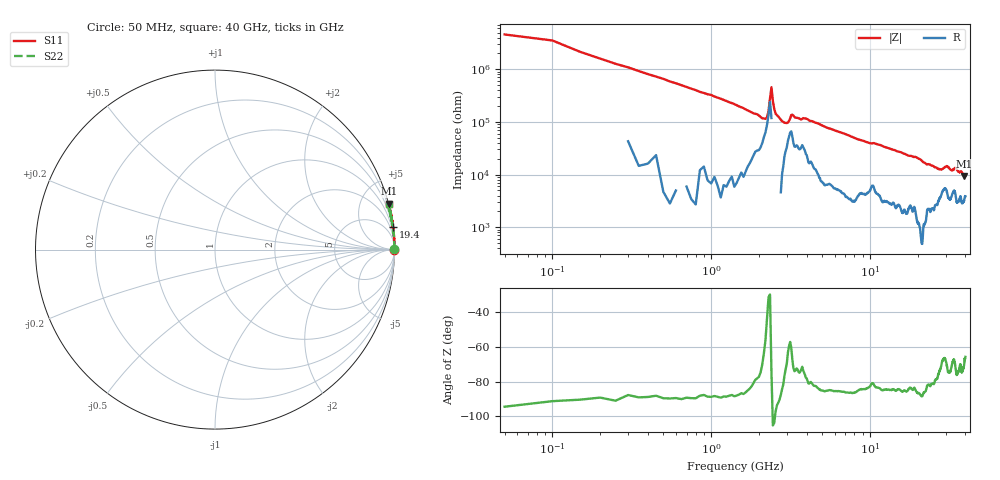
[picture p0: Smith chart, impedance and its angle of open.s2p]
!Keysight Technologies,N5247B,MY61255062,A.15.50.07
!Date: Thursday, February 13, 2025 12:40:25
!Correction: S11(C  2-Port  )
!S21(C  2-Port  )
!S12(C  2-Port  )
!S22(C  2-Port  )
!S2P File: Measurements: S11, S21, S12, S22:
# Hz S  MA  R 50
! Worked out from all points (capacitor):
!   800 points, 50 MHz to 40 GHz, reference 50 ohm
!   read as one part in series: C = 0.491 fF near 250 MHz
!   lowest |Z| = 9.45 kohm at 39.45 GHz (marker M1)
!   S11 on the Smith chart (normalised r, x): 50 MHz: open; 19.4 GHz: 0, +16; 40 GHz: -0.06, +7.69
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5e7  0.9999 0.0  2.178e-05 94.5  1.546e-05 117.1  1 0.0
3.5e8  1 0.1  0.000108 89.2  0.0001037 89.2  1 0.1
7.5e8  1 0.3  0.0002336 89.8  0.0002309 89.5  1 0.3
1.05e9  1 0.4  0.0003289 88.7  0.0003333 88.8  1 0.4
2.05e9  1 0.7  0.0008008 75.5  0.0007951 75.9  1 0.7
2.25e9  0.9996 0.8  0.0008178 44.6  0.0008104 44.5  0.9996 0.8
2.5e9  1 0.9  0.0005662 104.5  0.0005677 103.9  1 0.9
2.7e9  1 1.0  0.000848 91.2  0.0008516 91.4  1 1.0
2.9e9  1 1.1  0.001034 77.5  0.001033 77.3  1 1.1
3.4e9  1 1.3  0.0008287 75.0  0.0008314 74.8  1 1.2
6.75e9  1 2.5  0.001631 88.4  0.001631 88.3  0.9999 2.4
9.95e9  0.9998 3.7  0.002516 86.7  0.002514 86.8  0.9991 3.6
1.34e10  1 4.9  0.003216 89.7  0.003213 89.6  0.9991 4.9
1.94e10  0.9996 7.1  0.004603 91.9  0.004605 91.8  0.9981 7.1
2.005e10  0.9994 7.4  0.004859 94.1  0.004859 93.9  0.9982 7.3
2.67e10  0.9992 9.8  0.007603 87.8  0.007598 87.6  0.9984 10.0
2.825e10  0.9987 10.4  0.007942 80.9  0.007942 80.7  0.9966 10.3
3.065e10  0.9995 11.3  0.006877 82.9  0.006804 82.9  0.9974 11.3
3.335e10  1 12.2  0.008045 80.9  0.008027 80.9  0.9973 12.4
3.46e10  0.9975 12.7  0.007341 84.3  0.00735 84.2  0.9962 12.8
3.945e10  1.002 14.8  0.01042 83.2  0.01053 82.7  1.001 14.6
4e10  1.002 14.8  0.0104 80.6  0.01033 80.5  0.9994 14.6
